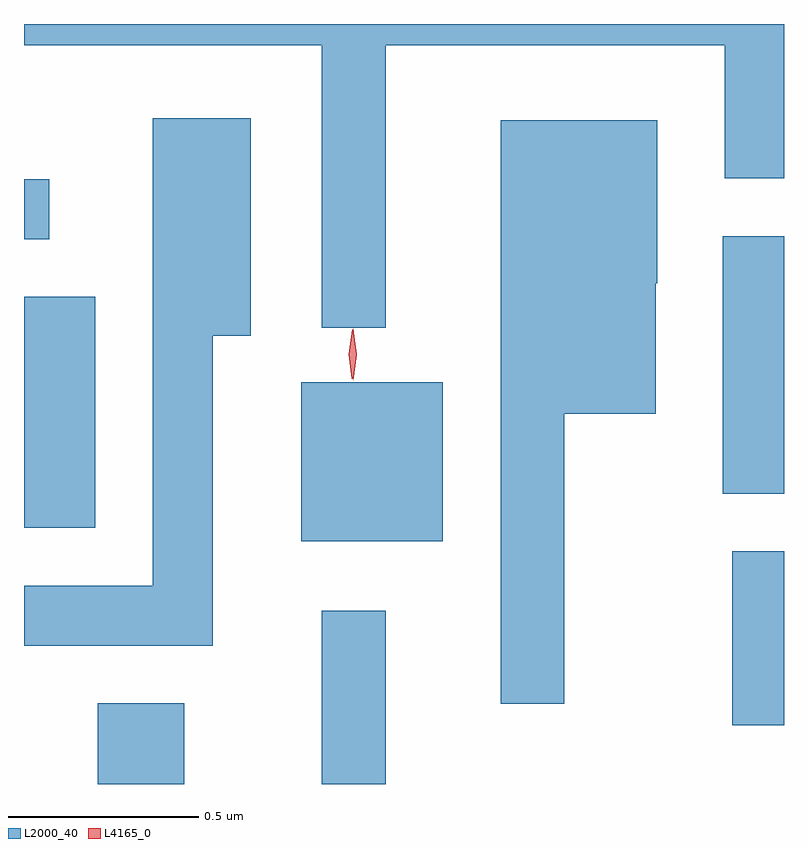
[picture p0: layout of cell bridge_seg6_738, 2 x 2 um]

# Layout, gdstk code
import gdstk
lib = gdstk.Library(unit=1e-6, precision=1e-09)
def R(c, l, rs):  # rectangles x0, y0, x1, y1
    for r in rs: c.add(gdstk.rectangle(r[:2], r[2:], *l))
def P(c, l, *ps):  # polygons
    for p in ps: c.add(gdstk.Polygon(p, *l))
L2000_40 = (2000, 40)
L4165_0 = (4165, 0)

bridge_seg6_738 = lib.new_cell('bridge_seg6_738')
R(bridge_seg6_738, L2000_40, [(244.731,1543.652,244.959,1543.864), (245.321,1543.652,245.489,1544.108), (246.401,1543.806,246.537,1544.264), (245.266,1544.291,245.639,1544.709), (244.537,1544.326,244.724,1544.934), (246.376,1544.416,246.537,1545.094), (244.537,1545.086,244.603,1545.244)])
P(bridge_seg6_738, L2000_40, [(245.489,1545.596),(246.381,1545.596),(246.381,1545.246),(246.537,1545.246),(246.537,1545.652),(244.537,1545.652),(244.537,1545.596),(245.321,1545.596),(245.321,1544.853),(245.489,1544.853)],
  [(245.034,1544.831),(245.134,1544.831),(245.134,1545.404),(244.876,1545.404),(244.876,1544.174),(244.537,1544.174),(244.537,1544.016),(245.034,1544.016)],
  [(245.959,1544.626),(246.199,1544.626),(246.199,1544.97),(246.204,1544.97),(246.204,1545.399),(245.791,1545.399),(245.791,1543.863),(245.959,1543.863)])
P(bridge_seg6_738, L4165_0, [(245.403,1544.714),(245.403,1544.714),(245.394,1544.782),(245.403,1544.85),(245.403,1544.85),(245.404,1544.85),(245.413,1544.782),(245.404,1544.714)],
  [(245.401,1544.718),(245.4,1544.719),(245.391,1544.783),(245.401,1544.847),(245.402,1544.847),(245.402,1544.847),(245.412,1544.783),(245.401,1544.719)])

lib.write_gds('bridge_seg6_738.gds')
